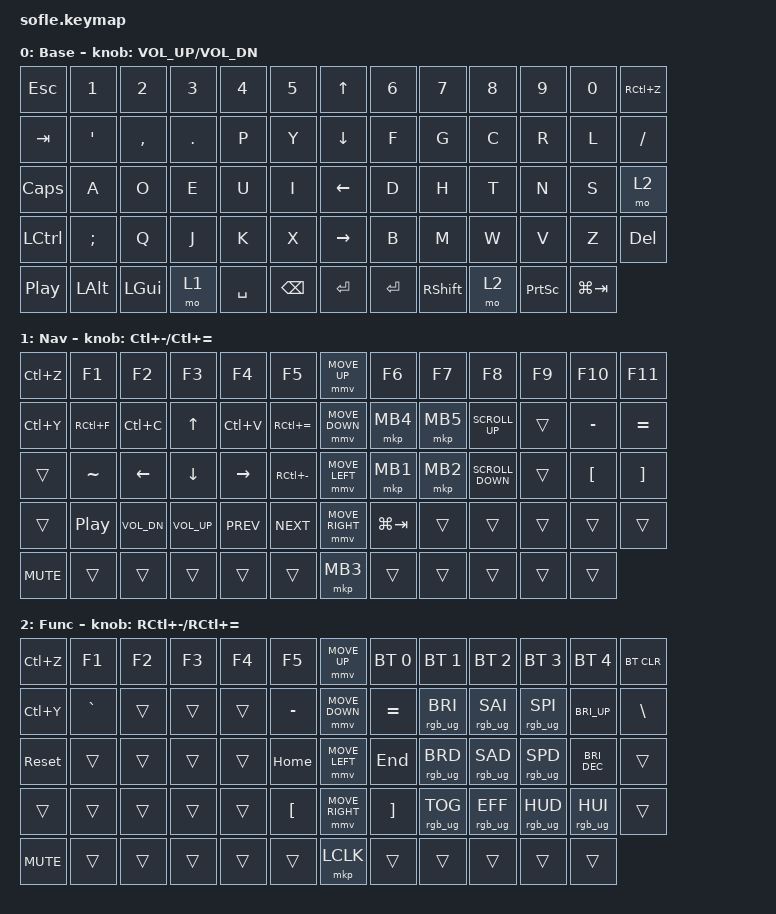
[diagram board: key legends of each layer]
#include <behaviors/mouse_keys.dtsi>
#include <behaviors.dtsi>
#include <dt-bindings/zmk/bt.h>
#include <dt-bindings/zmk/keys.h>
#include <dt-bindings/zmk/mouse.h>
#include <dt-bindings/zmk/rgb.h>

#define ZMK_MOUSE_DEFAULT_MOVE_VAL 1200  // 600
#define ZMK_MOUSE_DEFAULT_SCRL_VAL 20    // 10
#define U_MS_U &mmv MOVE_UP
#define U_MS_D &mmv MOVE_DOWN
#define U_MS_L &mmv MOVE_LEFT
#define U_MS_R &mmv MOVE_RIGHT
#define ZMK_MOUSE_DEFAULT_MOVE_VAL 1200  //  600
#define ZMK_MOUSE_DEFAULT_SCRL_VAL 20    // 10

/ {
    behaviors {
        mmv {
            acceleration-exponent = <1>;      // 1
            time-to-max-speed-ms = <900>;    // 40
            delay-ms = <0>;                   // 0
        };

        msc {
            acceleration-exponent = <1>;      // 0
            time-to-max-speed-ms = <400>;      // 500
            delay-ms = <0>;                   //   10
        };
    };

    scroll_encoder: scroll_encoder {
        compatible = "zmk,behavior-sensor-rotate";
        #sensor-binding-cells = <0>;
        bindings = <&msc SCRL_DOWN>, <&msc SCRL_UP>;

        tap-ms = <30>;
    };

    keymap {
        compatible = "zmk,keymap";

        Base {
            bindings = <
&kp ESC           &kp N1         &kp N2        &kp N3      &kp N4     &kp N5           &kp UP_ARROW     &kp N6     &kp N7           &kp N8  &kp N9           &kp N0       &kp RC(Z)
&kp TAB           &kp SQT        &kp COMMA     &kp PERIOD  &kp P      &kp Y            &kp DOWN_ARROW   &kp F      &kp G            &kp C   &kp R            &kp L        &kp SLASH
&kp CAPS          &kp A          &kp O         &kp E       &kp U      &kp I            &kp LEFT_ARROW   &kp D      &kp H            &kp T   &kp N            &kp S        &mo 2
&kp LCTRL         &kp SEMICOLON  &kp Q         &kp J       &kp K      &kp X            &kp RIGHT_ARROW  &kp B      &kp M            &kp W   &kp V            &kp Z        &kp DELETE
&kp C_PLAY_PAUSE  &kp LEFT_ALT   &kp LEFT_GUI  &mo 1       &kp SPACE  &kp BACKSPACE    &kp ENTER        &kp ENTER  &kp RIGHT_SHIFT  &mo 2   &kp PRINTSCREEN  &kp LG(TAB)
            >;

            sensor-bindings = <&inc_dec_kp C_VOLUME_UP C_VOL_DN>;
            display-name = "Base";
        };

        Nav {
            bindings = <
&kp LC(Z)   &kp F1            &kp F2        &kp F3          &kp F4      &kp F5           &mmv MOVE_UP     &kp F6       &kp F7    &kp F8             &kp F9  &kp F10           &kp F11
&kp LC(Y)   &kp RC(F)         &kp LC(C)     &kp UP_ARROW    &kp LC(V)   &kp RC(EQUAL)    &mmv MOVE_DOWN   &mkp MB4     &mkp MB5  &kp K_SCROLL_UP    &trans  &kp MINUS         &kp EQUAL
&trans      &kp TILDE         &kp LEFT      &kp DOWN_ARROW  &kp RIGHT   &kp RC(MINUS)    &mmv MOVE_LEFT   &mkp MB1     &mkp MB2  &kp K_SCROLL_DOWN  &trans  &kp LEFT_BRACKET  &kp RIGHT_BRACKET
&trans      &kp C_PLAY_PAUSE  &kp C_VOL_DN  &kp C_VOL_UP    &kp C_PREV  &kp C_NEXT       &mmv MOVE_RIGHT  &kp LG(TAB)  &trans    &trans             &trans  &trans            &trans
&kp C_MUTE  &trans            &trans        &trans          &trans      &trans           &mkp MB3         &trans       &trans    &trans             &trans  &trans
            >;

            display-name = "Nav";
            sensor-bindings = <&inc_dec_kp LC(MINUS) LC(EQUAL)>;
        };

        Util {
            display-name = "Func";
            bindings = <
&kp LC(Z)   &kp F1     &kp F2  &kp F3  &kp F4  &kp F5              &mmv MOVE_UP     &bt BT_SEL 0       &bt BT_SEL 1     &bt BT_SEL 2     &bt BT_SEL 3     &bt BT_SEL 4          &bt BT_CLR
&kp LC(Y)   &kp GRAVE  &trans  &trans  &trans  &kp MINUS           &mmv MOVE_DOWN   &kp EQUAL          &rgb_ug RGB_BRI  &rgb_ug RGB_SAI  &rgb_ug RGB_SPI  &kp C_BRI_UP          &kp BACKSLASH
&sys_reset  &trans     &trans  &trans  &trans  &kp HOME            &mmv MOVE_LEFT   &kp END            &rgb_ug RGB_BRD  &rgb_ug RGB_SAD  &rgb_ug RGB_SPD  &kp C_BRIGHTNESS_DEC  &trans
&trans      &trans     &trans  &trans  &trans  &kp LEFT_BRACKET    &mmv MOVE_RIGHT  &kp RIGHT_BRACKET  &rgb_ug RGB_TOG  &rgb_ug RGB_EFF  &rgb_ug RGB_HUD  &rgb_ug RGB_HUI       &trans
&kp C_MUTE  &trans     &trans  &trans  &trans  &trans              &mkp LCLK        &trans             &trans           &trans           &trans           &trans
            >;

            sensor-bindings = <&inc_dec_kp RC(MINUS) RC(EQUAL)>;
        };
    };
};
